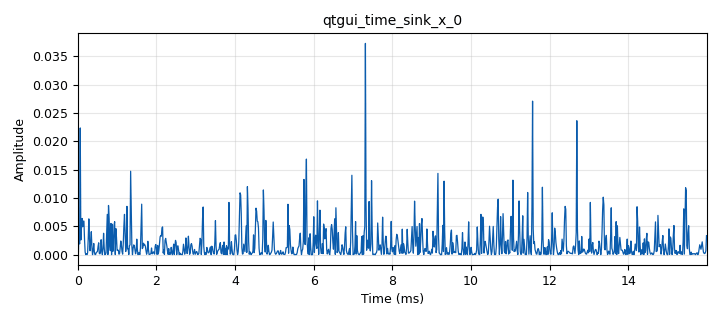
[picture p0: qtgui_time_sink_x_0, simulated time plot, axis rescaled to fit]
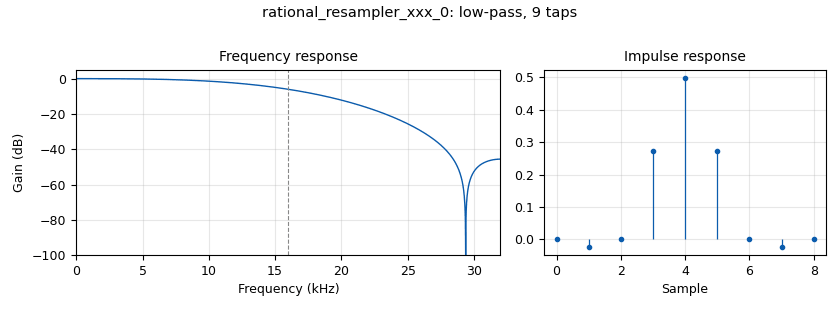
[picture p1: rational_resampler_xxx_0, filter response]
<?xml version='1.0' encoding='utf-8'?>
<?grc format='1' created='3.7.10'?>
<flow_graph>
<block>
<key>options</key>
<param><key>id</key><value>ppm_symb_recov</value></param>
<param><key>generate_options</key><value>qt_gui</value></param>
</block>
<block>
<key>variable</key>
<param><key>id</key><value>interp</value></param>
<param><key>value</key><value>2</value></param>
</block>
<block>
<key>variable</key>
<param><key>id</key><value>samp_rate</value></param>
<param><key>value</key><value>32e3</value></param>
</block>
<block>
<key>analog_noise_source_x</key>
<param><key>id</key><value>analog_noise_source_x_0</value></param>
<param><key>amp</key><value>0.1</value></param>
<param><key>noise_type</key><value>analog.GR_GAUSSIAN</value></param>
<param><key>type</key><value>float</value></param>
<param><key>seed</key><value>0</value></param>
</block>
<block>
<key>blocks_add_xx</key>
<param><key>id</key><value>blocks_add_xx_0</value></param>
<param><key>type</key><value>float</value></param>
</block>
<block>
<key>blocks_char_to_float</key>
<param><key>id</key><value>blocks_char_to_float_0</value></param>
<param><key>scale</key><value>1</value></param>
</block>
<block>
<key>blocks_message_strobe</key>
<param><key>id</key><value>blocks_message_strobe_0</value></param>
<param><key>msg</key><value>pmt.intern("TEST")</value></param>
<param><key>period</key><value>1000</value></param>
</block>
<block>
<key>blocks_message_strobe</key>
<param><key>id</key><value>blocks_message_strobe_1</value></param>
<param><key>msg</key><value>pmt.intern("TEST")</value></param>
<param><key>period</key><value>1000</value></param>
</block>
<block>
<key>blocks_multiply_xx</key>
<param><key>id</key><value>blocks_multiply_xx_0</value></param>
<param><key>type</key><value>float</value></param>
</block>
<block>
<key>blocks_pdu_to_tagged_stream</key>
<param><key>id</key><value>blocks_pdu_to_tagged_stream_0</value></param>
<param><key>type</key><value>byte</value></param>
<param><key>tag</key><value>packet_len</value></param>
</block>
<block>
<key>blocks_pdu_to_tagged_stream</key>
<param><key>id</key><value>blocks_pdu_to_tagged_stream_1</value></param>
<param><key>type</key><value>byte</value></param>
<param><key>tag</key><value>packet_len</value></param>
</block>
<block>
<key>blocks_random_pdu</key>
<param><key>id</key><value>blocks_random_pdu_0</value></param>
<param><key>mask</key><value>0x00</value></param>
<param><key>length_modulo</key><value>2</value></param>
<param><key>maxsize</key><value>2000</value></param>
<param><key>minsize</key><value>50</value></param>
</block>
<block>
<key>blocks_random_pdu</key>
<param><key>id</key><value>blocks_random_pdu_1</value></param>
<param><key>mask</key><value>0x01</value></param>
<param><key>length_modulo</key><value>2</value></param>
<param><key>maxsize</key><value>130</value></param>
<param><key>minsize</key><value>120</value></param>
</block>
<block>
<key>blocks_tagged_stream_mux</key>
<param><key>id</key><value>blocks_tagged_stream_mux_0</value></param>
<param><key>type</key><value>byte</value></param>
<param><key>lengthtagname</key><value>packet_len</value></param>
<param><key>ninputs</key><value>2</value></param>
</block>
<block>
<key>blocks_throttle</key>
<param><key>id</key><value>blocks_throttle_0</value></param>
<param><key>samples_per_second</key><value>samp_rate</value></param>
<param><key>type</key><value>float</value></param>
</block>
<block>
<key>qtgui_time_sink_x</key>
<param><key>id</key><value>qtgui_time_sink_x_0</value></param>
<param><key>color1</key><value>"blue"</value></param>
<param><key>label1</key><value></value></param>
<param><key>style1</key><value>2</value></param>
<param><key>size</key><value>1024</value></param>
<param><key>srate</key><value>samp_rate*interp</value></param>
<param><key>type</key><value>float</value></param>
</block>
<block>
<key>rational_resampler_xxx</key>
<param><key>id</key><value>rational_resampler_xxx_0</value></param>
<param><key>decim</key><value>1</value></param>
<param><key>interp</key><value>interp</value></param>
<param><key>taps</key><value>firdes.low_pass(1,samp_rate*interp,samp_rate/2,samp_rate/2,firdes.WIN_HAMMING)</value></param>
<param><key>type</key><value>fff</value></param>
</block>
<connection><source_block_id>analog_noise_source_x_0</source_block_id><sink_block_id>blocks_add_xx_0</sink_block_id><source_key>0</source_key><sink_key>1</sink_key></connection>
<connection><source_block_id>blocks_add_xx_0</source_block_id><sink_block_id>blocks_throttle_0</sink_block_id><source_key>0</source_key><sink_key>0</sink_key></connection>
<connection><source_block_id>blocks_char_to_float_0</source_block_id><sink_block_id>blocks_add_xx_0</sink_block_id><source_key>0</source_key><sink_key>0</sink_key></connection>
<connection><source_block_id>blocks_message_strobe_0</source_block_id><sink_block_id>blocks_random_pdu_1</sink_block_id><source_key>strobe</source_key><sink_key>generate</sink_key></connection>
<connection><source_block_id>blocks_message_strobe_1</source_block_id><sink_block_id>blocks_random_pdu_0</sink_block_id><source_key>strobe</source_key><sink_key>generate</sink_key></connection>
<connection><source_block_id>blocks_multiply_xx_0</source_block_id><sink_block_id>qtgui_time_sink_x_0</sink_block_id><source_key>0</source_key><sink_key>0</sink_key></connection>
<connection><source_block_id>blocks_pdu_to_tagged_stream_0</source_block_id><sink_block_id>blocks_tagged_stream_mux_0</sink_block_id><source_key>0</source_key><sink_key>0</sink_key></connection>
<connection><source_block_id>blocks_pdu_to_tagged_stream_1</source_block_id><sink_block_id>blocks_tagged_stream_mux_0</sink_block_id><source_key>0</source_key><sink_key>1</sink_key></connection>
<connection><source_block_id>blocks_random_pdu_0</source_block_id><sink_block_id>blocks_pdu_to_tagged_stream_1</sink_block_id><source_key>pdus</source_key><sink_key>pdus</sink_key></connection>
<connection><source_block_id>blocks_random_pdu_1</source_block_id><sink_block_id>blocks_pdu_to_tagged_stream_0</sink_block_id><source_key>pdus</source_key><sink_key>pdus</sink_key></connection>
<connection><source_block_id>blocks_tagged_stream_mux_0</source_block_id><sink_block_id>blocks_char_to_float_0</sink_block_id><source_key>0</source_key><sink_key>0</sink_key></connection>
<connection><source_block_id>blocks_throttle_0</source_block_id><sink_block_id>rational_resampler_xxx_0</sink_block_id><source_key>0</source_key><sink_key>0</sink_key></connection>
<connection><source_block_id>rational_resampler_xxx_0</source_block_id><sink_block_id>blocks_multiply_xx_0</sink_block_id><source_key>0</source_key><sink_key>0</sink_key></connection>
<connection><source_block_id>rational_resampler_xxx_0</source_block_id><sink_block_id>blocks_multiply_xx_0</sink_block_id><source_key>0</source_key><sink_key>1</sink_key></connection>
</flow_graph>
